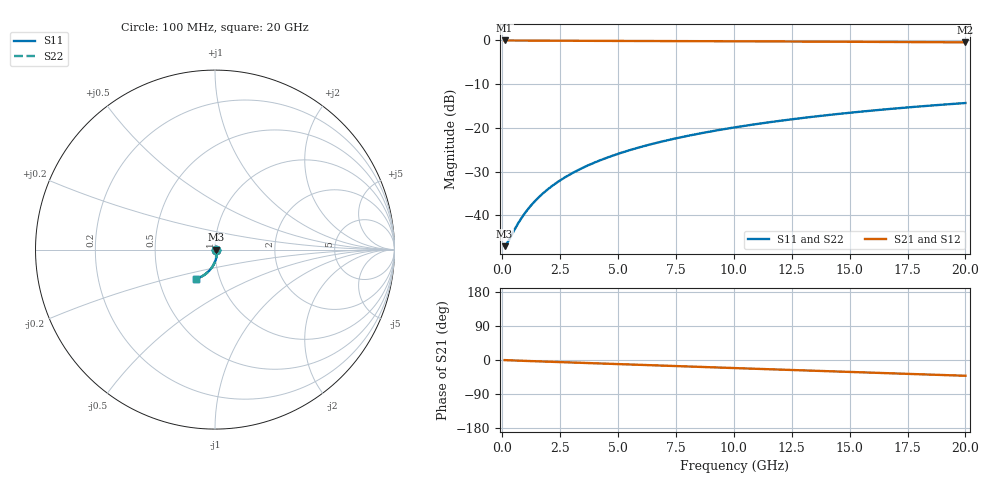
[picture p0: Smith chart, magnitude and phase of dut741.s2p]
! Touchstone file exported from HFSS 2026.1.0
!  File:  C:/ffzhzh/LocalFiles/Ansys_Project_Files/temp_train_BSMRDL_741_1783168706_22436.aedt
!  Generated:  08:39:53 PM Jul  4, 2026
!  Design:  BSMRDL
!  Project:  temp_train_BSMRDL_741_1783168706_22436
! Variables:
!  h_bsmrdl = 2.12um
!  h_ox = 20um
!  h_rdl = 5um
!  h_sub = 80um
!  h_tmrdl = 5um
!  h_tsv = 80um
!  h_via = 3um
!  l_bsmrdl = 689.65um
!  l_sub = 1089.65um
!  l_tmrdl = 200um
!  m_sub = 200um
!  pitch = 30.39um
!  r_tsv = 6um
!  s_tmrdl = 10um
!  w_bsmrdl = 29.06um
!  w_sub = 500um
!  w_tmrdl = 12um
!  x_tsv_center1 = 206um
!  x_tsv_center2 = 924.71um
!  x_tsv_center3 = 1136.71um
!  x_tsv_center4 = 1855.42um
!  x_tsv_center5 = 2067.42um
!  x_tsv_center6 = 2786.13um
# GHz S MA R 50.000000
! Terminal data exported
! Port[1] = BSM_RDL1_1_T1
! Port[2] = BSM_RDL1_1_T2
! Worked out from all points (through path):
!   200 points, 100 MHz to 20 GHz, reference 50 ohm
!   highest |S21| = -0.04 dB at 100 MHz (marker M1); lowest = -0.5 dB at 20 GHz (marker M2)
!   group delay of S21, straight-line fit = 5.75 ps
!   lowest |S11| = -47.0 dB at 100 MHz (marker M3), VSWR 1.01, Z = 50.4 - j0.00234 ohm
!   |S11| at or under -10 dB: start of sweep to end of sweep
!   |S22| runs from -47.0 to -14.3 dB; largest |S21 - S12| = 2.1e-14
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0.1  0.004454 -0.3  0.9955 -0.3  0.9955 -0.3  0.004454 -0.3
! Gamma 0 0 0 0
! Port Impedance 50 0 50 0
0.2  0.004797 -1.6  0.9952 -0.5  0.9952 -0.5  0.004797 -1.6
0.3  0.005312 -4.3  0.9947 -0.8  0.9947 -0.8  0.005312 -4.3
0.6  0.007437 -17.3  0.9929 -1.5  0.9929 -1.5  0.007438 -17.3
0.9  0.009947 -30.6  0.9913 -2.2  0.9913 -2.2  0.009949 -30.6
1.2  0.01263 -41.1  0.9901 -2.8  0.9901 -2.8  0.01263 -41.1
1.5  0.01541 -49.2  0.9893 -3.4  0.9893 -3.4  0.01542 -49.2
1.9  0.01924 -57.2  0.9883 -4.3  0.9883 -4.3  0.01925 -57.2
2.4  0.02415 -64.4  0.9874 -5.3  0.9874 -5.3  0.02416 -64.4
2.9  0.02915 -69.7  0.9865 -6.4  0.9865 -6.4  0.02916 -69.7
3.5  0.03522 -74.6  0.9856 -7.6  0.9856 -7.6  0.03523 -74.6
4.2  0.04235 -79.1  0.9846 -9.1  0.9846 -9.1  0.04236 -79.1
5  0.05052 -83.3  0.9835 -10.8  0.9835 -10.8  0.05053 -83.3
5.9  0.05969 -87.1  0.9821 -12.7  0.9821 -12.7  0.05971 -87.1
6.8  0.06883 -90.4  0.9807 -14.6  0.9807 -14.6  0.06885 -90.5
8.3  0.08396 -95.2  0.978 -17.7  0.978 -17.7  0.08399 -95.2
10.1  0.1019 -100.2  0.9743 -21.4  0.9743 -21.4  0.1019 -100.2
11.7  0.1175 -104.2  0.9706 -24.8  0.9706 -24.8  0.1176 -104.2
13.4  0.1338 -108.2  0.9664 -28.3  0.9664 -28.3  0.1338 -108.3
15  0.1487 -111.9  0.9621 -31.5  0.9621 -31.5  0.1488 -111.9
16.7  0.1641 -115.6  0.9572 -35.0  0.9572 -35.0  0.1642 -115.6
20  0.1921 -122.6  0.9473 -41.6  0.9473 -41.6  0.1922 -122.7
